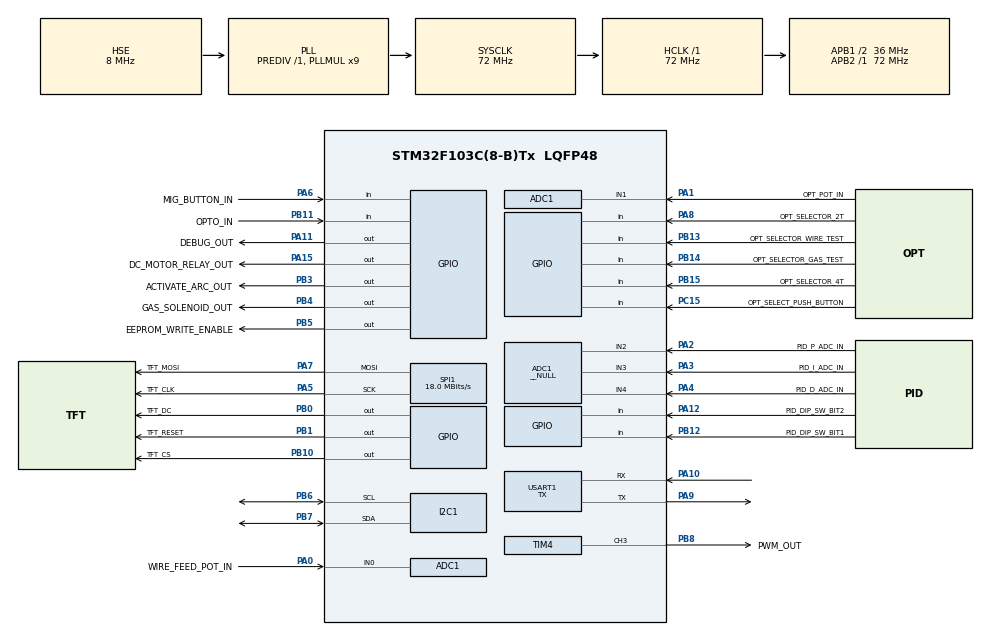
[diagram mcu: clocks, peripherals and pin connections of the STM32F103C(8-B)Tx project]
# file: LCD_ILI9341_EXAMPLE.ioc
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ADC1.Channel-10\#ChannelRegularConversion=ADC_CHANNEL_2
ADC1.Channel-11\#ChannelRegularConversion=ADC_CHANNEL_3
ADC1.Channel-12\#ChannelRegularConversion=ADC_CHANNEL_4
ADC1.Channel-8\#ChannelRegularConversion=ADC_CHANNEL_0
ADC1.Channel-9\#ChannelRegularConversion=ADC_CHANNEL_1
ADC1.ContinuousConvMode=ENABLE
ADC1.DiscontinuousConvMode=DISABLE
ADC1.EnableRegularConversion=ENABLE
ADC1.ExternalTrigConv=ADC_SOFTWARE_START
ADC1.Mode=__NULL
ADC1.NbrOfConversion=5
ADC1.NbrOfConversionFlag=1
ADC1.Rank-10\#ChannelRegularConversion=3
ADC1.Rank-11\#ChannelRegularConversion=4
ADC1.Rank-12\#ChannelRegularConversion=5
ADC1.Rank-8\#ChannelRegularConversion=1
ADC1.Rank-9\#ChannelRegularConversion=2
ADC1.SamplingTime-10\#ChannelRegularConversion=ADC_SAMPLETIME_7CYCLES_5
ADC1.SamplingTime-11\#ChannelRegularConversion=ADC_SAMPLETIME_7CYCLES_5
ADC1.SamplingTime-12\#ChannelRegularConversion=ADC_SAMPLETIME_7CYCLES_5
ADC1.SamplingTime-8\#ChannelRegularConversion=ADC_SAMPLETIME_7CYCLES_5
ADC1.SamplingTime-9\#ChannelRegularConversion=ADC_SAMPLETIME_7CYCLES_5
ADC1.master=1
Dma.Request0=SPI1_TX
Dma.SPI1_TX.0.Direction=DMA_MEMORY_TO_PERIPH
Dma.SPI1_TX.0.Instance=DMA1_Channel3
Dma.SPI1_TX.0.MemDataAlignment=DMA_MDATAALIGN_BYTE
Dma.SPI1_TX.0.MemInc=DMA_MINC_ENABLE
Dma.SPI1_TX.0.Mode=DMA_NORMAL
Dma.SPI1_TX.0.PeriphDataAlignment=DMA_PDATAALIGN_BYTE
Dma.SPI1_TX.0.PeriphInc=DMA_PINC_DISABLE
Dma.SPI1_TX.0.Priority=DMA_PRIORITY_LOW
I2C1.I2C_Mode=I2C_Standard
Mcu.Family=STM32F1
Mcu.Name=STM32F103C(8-B)Tx
Mcu.Package=LQFP48
Mcu.UserConstants=WIRE_SPEED_COUNTER_TIMER_US,20;WIRE_SPEED_COUNTER_TIMER_PRESCALER,1;PWM_AUTORELOAD_REG_ARR,((PWM_TIMER_US*FCLOCK_MHZ/(PWM_TIMER_PRESCALER+1))-1);WIRE_SPEED_COUNTER_TIMER_ARR,((WIRE_SPEED_COUNTER_TIMER_US*FCLOCK_MHZ/(WIRE_SPEED_COUNTER_TIMER_PRESCALER+1))-1);PWM_TIMER_US,1000;FCLOCK_MHZ,72;PWM_TIMER_PRESCALER,1;ADCS_CONV_TIMER_US,10000;ADCS_CONV_TIMER_PRESCALER,12;ADCS_CONV_TIMER_ARR,((ADCS_CONV_TIMER_US*FCLOCK_MHZ/(ADCS_CONV_TIMER_PRESCALER+1))-1)
NVIC.DMA1_Channel3_IRQn=true\:0\:0\:false\:false\:true\:false\:true\:true
NVIC.I2C1_EV_IRQn=true\:0\:0\:false\:false\:true\:true\:true\:true
NVIC.PriorityGroup=NVIC_PRIORITYGROUP_4
PA0-WKUP.GPIO_Label=WIRE_FEED_POT_IN
PA0-WKUP.Signal=ADCx_IN0
PA1.GPIO_Label=OPT_POT_IN
PA1.Signal=ADCx_IN1
PA10.Mode=Asynchronous
PA10.Signal=USART1_RX
PA11.GPIO_Label=DEBUG_OUT
PA11.Signal=GPIO_Output
PA12.GPIO_Label=PID_DIP_SW_BIT2
PA12.GPIO_PuPd=GPIO_PULLUP
PA12.Signal=GPIO_Input
PA15.GPIO_Label=DC_MOTOR_RELAY_OUT
PA15.GPIO_PuPd=GPIO_PULLDOWN
PA15.GPIO_Speed=GPIO_SPEED_FREQ_HIGH
PA15.Signal=GPIO_Output
PA2.GPIO_Label=PID_P_ADC_IN
PA2.Signal=ADCx_IN2
PA3.GPIO_Label=PID_I_ADC_IN
PA3.Signal=ADCx_IN3
PA4.GPIO_Label=PID_D_ADC_IN
PA4.Signal=ADCx_IN4
PA5.GPIO_Label=TFT_CLK
PA5.Mode=TX_Only_Simplex_Unidirect_Master
PA5.Signal=SPI1_SCK
PA6.GPIO_Label=MIG_BUTTON_IN
PA6.GPIO_PuPd=GPIO_PULLUP
PA6.Signal=GPIO_Input
PA7.GPIO_Label=TFT_MOSI
PA7.Mode=TX_Only_Simplex_Unidirect_Master
PA7.Signal=SPI1_MOSI
PA8.GPIO_Label=OPT_SELECTOR_2T
PA8.GPIO_PuPd=GPIO_PULLUP
PA8.Signal=GPIO_Input
PA9.Mode=Asynchronous
PA9.Signal=USART1_TX
PB0.GPIO_Label=TFT_DC
PB0.GPIO_Speed=GPIO_SPEED_FREQ_HIGH
PB0.Signal=GPIO_Output
PB1.GPIO_Label=TFT_RESET
PB1.GPIO_PuPd=GPIO_PULLDOWN
PB1.GPIO_Speed=GPIO_SPEED_FREQ_HIGH
PB1.Signal=GPIO_Output
PB10.GPIO_Label=TFT_CS
PB10.GPIO_PuPd=GPIO_PULLUP
PB10.GPIO_Speed=GPIO_SPEED_FREQ_HIGH
PB10.Signal=GPIO_Output
PB11.GPIO_Label=OPTO_IN
PB11.GPIO_PuPd=GPIO_PULLUP
PB11.Signal=GPIO_Input
PB12.GPIO_Label=PID_DIP_SW_BIT1
PB12.GPIO_PuPd=GPIO_PULLUP
PB12.Signal=GPIO_Input
PB13.GPIO_Label=OPT_SELECTOR_WIRE_TEST
PB13.GPIO_PuPd=GPIO_PULLUP
PB13.Signal=GPIO_Input
PB14.GPIO_Label=OPT_SELECTOR_GAS_TEST
PB14.GPIO_PuPd=GPIO_PULLUP
PB14.Signal=GPIO_Input
PB15.GPIO_Label=OPT_SELECTOR_4T
PB15.GPIO_PuPd=GPIO_PULLUP
PB15.Signal=GPIO_Input
PB3.GPIO_Label=ACTIVATE_ARC_OUT
PB3.GPIO_PuPd=GPIO_PULLDOWN
PB3.GPIO_Speed=GPIO_SPEED_FREQ_HIGH
PB3.PinState=GPIO_PIN_RESET
PB3.Signal=GPIO_Output
PB4.GPIO_Label=GAS_SOLENOID_OUT
PB4.GPIO_PuPd=GPIO_PULLDOWN
PB4.GPIO_Speed=GPIO_SPEED_FREQ_HIGH
PB4.Signal=GPIO_Output
PB5.GPIO_Label=EEPROM_WRITE_ENABLE
PB5.GPIO_PuPd=GPIO_PULLUP
PB5.GPIO_Speed=GPIO_SPEED_FREQ_HIGH
PB5.Signal=GPIO_Output
PB6.Mode=I2C
PB6.Signal=I2C1_SCL
PB7.Mode=I2C
PB7.Signal=I2C1_SDA
PB8.GPIO_Label=PWM_OUT
PB8.Signal=S_TIM4_CH3
PC15-OSC32_OUT.GPIO_Label=OPT_SELECT_PUSH_BUTTON
PC15-OSC32_OUT.GPIO_PuPd=GPIO_PULLUP
PC15-OSC32_OUT.Signal=GPIO_Input
PD0-OSC_IN.Mode=HSE-External-Oscillator
PD0-OSC_IN.Signal=RCC_OSC_IN
PD1-OSC_OUT.Mode=HSE-External-Oscillator
PD1-OSC_OUT.Signal=RCC_OSC_OUT
ProjectManager.HeapSize=0x200
ProjectManager.StackSize=0x400
ProjectManager.TargetToolchain=STM32CubeIDE
RCC.ADCPresc=RCC_ADCPCLK2_DIV6
RCC.AHBFreq_Value=72000000
RCC.APB1CLKDivider=RCC_HCLK_DIV2
RCC.APB1Freq_Value=36000000
RCC.APB1TimFreq_Value=72000000
RCC.APB2Freq_Value=72000000
RCC.APB2TimFreq_Value=72000000
RCC.HCLKFreq_Value=72000000
RCC.PLLMUL=RCC_PLL_MUL9
RCC.PLLSourceVirtual=RCC_PLLSOURCE_HSE
RCC.SYSCLKFreq_VALUE=72000000
RCC.SYSCLKSource=RCC_SYSCLKSOURCE_PLLCLK
RCC.USBFreq_Value=48000000
RCC.USBPrescaler=RCC_USBCLKSOURCE_PLL_DIV1_5
SH.ADCx_IN0.0=ADC1_IN0,IN0
SH.ADCx_IN1.0=ADC1_IN1,IN1
SH.ADCx_IN2.0=ADC1_IN2,IN2
SH.ADCx_IN3.0=ADC1_IN3,IN3
SH.ADCx_IN4.0=ADC1_IN4,IN4
SH.S_TIM4_CH3.0=TIM4_CH3,PWM Generation3 CH3
SPI1.BaudRatePrescaler=SPI_BAUDRATEPRESCALER_4
SPI1.CalculateBaudRate=18.0 MBits/s
SPI1.Direction=SPI_DIRECTION_2LINES
SPI1.Mode=SPI_MODE_MASTER
SPI1.VirtualType=VM_MASTER
TIM1.Period=WIRE_SPEED_COUNTER_TIMER_ARR
TIM1.Prescaler=WIRE_SPEED_COUNTER_TIMER_PRESCALER
TIM1.TIM_MasterOutputTrigger=TIM_TRGO_RESET
TIM4.Channel-PWM\ Generation3\ CH3=TIM_CHANNEL_3
TIM4.Period=PWM_AUTORELOAD_REG_ARR
TIM4.Prescaler=PWM_TIMER_PRESCALER
USART1.Mode=MODE_TX
USART1.VirtualMode=VM_ASYNC
VP_SYS_VS_ND.Mode=No_Debug
VP_TIM1_VS_ClockSourceINT.Mode=Internal
board=custom

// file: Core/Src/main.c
/* USER CODE BEGIN Header */
/**
  ******************************************************************************
  * @file           : main.c
  * @brief          : Main program body
  ******************************************************************************
  * @attention
  *
  * Copyright (c) 2024 STMicroelectronics.
  * All rights reserved.
  *
  * This software is licensed under terms that can be found in the LICENSE file
  * in the root directory of this software component.
  * If no LICENSE file comes with this software, it is provided AS-IS.
  *
  ******************************************************************************
  */
/* USER CODE END Header */
#include "main.h"

 ADC_HandleTypeDef hadc1;

I2C_HandleTypeDef hi2c1;

SPI_HandleTypeDef hspi1;
DMA_HandleTypeDef hdma_spi1_tx;

TIM_HandleTypeDef htim1;
TIM_HandleTypeDef htim4;

UART_HandleTypeDef huart1;

/* USER CODE BEGIN PV */
volatile uint8_t SPI_transfer_status = 0;
/* USER CODE END PV */

void SystemClock_Config(void);
static void MX_GPIO_Init(void);
static void MX_ADC1_Init(void);
static void MX_TIM4_Init(void);
static void MX_SPI1_Init(void);
static void MX_DMA_Init(void);
static void MX_I2C1_Init(void);
static void MX_TIM1_Init(void);
static void MX_USART1_UART_Init(void);
/* USER CODE BEGIN PFP */
void LCD_demo_OLD(void);
void new_LCD_demo(void);
/* USER CODE END PFP */

int main(void)
{

  /* MCU Configuration--------------------------------------------------------*/

  /* Reset of all peripherals, Initializes the Flash interface and the Systick. */
  HAL_Init();

  /* Configure the system clock */
  SystemClock_Config();

  /* USER CODE BEGIN SysInit */
  MX_DMA_Init();
  /* USER CODE END SysInit */

  /* Initialize all configured peripherals */
  MX_GPIO_Init();
  MX_ADC1_Init();
  MX_TIM4_Init();
  MX_SPI1_Init();
  MX_DMA_Init();
  MX_I2C1_Init();
  MX_TIM1_Init();
  MX_USART1_UART_Init();

  /* Infinite loop */
  /* USER CODE BEGIN WHILE */
  while (1)
  {
	//LCD_demo_OLD();
	  static int cycles = 0;
	  if(!cycles){
		  new_LCD_demo();
		  cycles++;
	  }
    /* USER CODE END WHILE */

  }
}

void SystemClock_Config(void)
{
  RCC_OscInitTypeDef RCC_OscInitStruct = {0};
  RCC_ClkInitTypeDef RCC_ClkInitStruct = {0};
  RCC_PeriphCLKInitTypeDef PeriphClkInit = {0};

  /** Initializes the RCC Oscillators according to the specified parameters
  * in the RCC_OscInitTypeDef structure.
  */
  RCC_OscInitStruct.OscillatorType = RCC_OSCILLATORTYPE_HSE;
  RCC_OscInitStruct.HSEState = RCC_HSE_ON;
  RCC_OscInitStruct.HSEPredivValue = RCC_HSE_PREDIV_DIV1;
  RCC_OscInitStruct.HSIState = RCC_HSI_ON;
  RCC_OscInitStruct.PLL.PLLState = RCC_PLL_ON;
  RCC_OscInitStruct.PLL.PLLSource = RCC_PLLSOURCE_HSE;
  RCC_OscInitStruct.PLL.PLLMUL = RCC_PLL_MUL9;
  if (HAL_RCC_OscConfig(&RCC_OscInitStruct) != HAL_OK)
  {
    Error_Handler();
  }

  /** Initializes the CPU, AHB and APB buses clocks
  */
  RCC_ClkInitStruct.ClockType = RCC_CLOCKTYPE_HCLK|RCC_CLOCKTYPE_SYSCLK
                              |RCC_CLOCKTYPE_PCLK1|RCC_CLOCKTYPE_PCLK2;
  RCC_ClkInitStruct.SYSCLKSource = RCC_SYSCLKSOURCE_PLLCLK;
  RCC_ClkInitStruct.AHBCLKDivider = RCC_SYSCLK_DIV1;
  RCC_ClkInitStruct.APB1CLKDivider = RCC_HCLK_DIV2;
  RCC_ClkInitStruct.APB2CLKDivider = RCC_HCLK_DIV1;

  if (HAL_RCC_ClockConfig(&RCC_ClkInitStruct, FLASH_LATENCY_2) != HAL_OK)
  {
    Error_Handler();
  }
  PeriphClkInit.PeriphClockSelection = RCC_PERIPHCLK_ADC;
  PeriphClkInit.AdcClockSelection = RCC_ADCPCLK2_DIV6;
  if (HAL_RCCEx_PeriphCLKConfig(&PeriphClkInit) != HAL_OK)
  {
    Error_Handler();
  }
}

static void MX_ADC1_Init(void)
{

  ADC_ChannelConfTypeDef sConfig = {0};

  /** Common config
  */
  hadc1.Instance = ADC1;
  hadc1.Init.ScanConvMode = ADC_SCAN_ENABLE;
  hadc1.Init.ContinuousConvMode = ENABLE;
  hadc1.Init.DiscontinuousConvMode = DISABLE;
  hadc1.Init.ExternalTrigConv = ADC_SOFTWARE_START;
  hadc1.Init.DataAlign = ADC_DATAALIGN_RIGHT;
  hadc1.Init.NbrOfConversion = 5;
  if (HAL_ADC_Init(&hadc1) != HAL_OK)
  {
    Error_Handler();
  }

  /** Configure Regular Channel
  */
  sConfig.Channel = ADC_CHANNEL_0;
  sConfig.Rank = ADC_REGULAR_RANK_1;
  sConfig.SamplingTime = ADC_SAMPLETIME_7CYCLES_5;
  if (HAL_ADC_ConfigChannel(&hadc1, &sConfig) != HAL_OK)
  {
    Error_Handler();
  }

  /** Configure Regular Channel
  */
  sConfig.Channel = ADC_CHANNEL_1;
  sConfig.Rank = ADC_REGULAR_RANK_2;
  if (HAL_ADC_ConfigChannel(&hadc1, &sConfig) != HAL_OK)
  {
    Error_Handler();
  }

  /** Configure Regular Channel
  */
  sConfig.Channel = ADC_CHANNEL_2;
  sConfig.Rank = ADC_REGULAR_RANK_3;
  if (HAL_ADC_ConfigChannel(&hadc1, &sConfig) != HAL_OK)
  {
    Error_Handler();
  }

  /** Configure Regular Channel
  */
  sConfig.Channel = ADC_CHANNEL_3;
  sConfig.Rank = ADC_REGULAR_RANK_4;
  if (HAL_ADC_ConfigChannel(&hadc1, &sConfig) != HAL_OK)
  {
    Error_Handler();
  }

  /** Configure Regular Channel
  */
  sConfig.Channel = ADC_CHANNEL_4;
  sConfig.Rank = ADC_REGULAR_RANK_5;
  if (HAL_ADC_ConfigChannel(&hadc1, &sConfig) != HAL_OK)
  {
    Error_Handler();
  }

}

static void MX_I2C1_Init(void)
{

  hi2c1.Instance = I2C1;
  hi2c1.Init.ClockSpeed = 100000;
  hi2c1.Init.DutyCycle = I2C_DUTYCYCLE_2;
  hi2c1.Init.OwnAddress1 = 0;
  hi2c1.Init.AddressingMode = I2C_ADDRESSINGMODE_7BIT;
  hi2c1.Init.DualAddressMode = I2C_DUALADDRESS_DISABLE;
  hi2c1.Init.OwnAddress2 = 0;
  hi2c1.Init.GeneralCallMode = I2C_GENERALCALL_DISABLE;
  hi2c1.Init.NoStretchMode = I2C_NOSTRETCH_DISABLE;
  if (HAL_I2C_Init(&hi2c1) != HAL_OK)
  {
    Error_Handler();
  }

}

static void MX_SPI1_Init(void)
{

  /* SPI1 parameter configuration*/
  hspi1.Instance = SPI1;
  hspi1.Init.Mode = SPI_MODE_MASTER;
  hspi1.Init.Direction = SPI_DIRECTION_2LINES;
  hspi1.Init.DataSize = SPI_DATASIZE_8BIT;
  hspi1.Init.CLKPolarity = SPI_POLARITY_LOW;
  hspi1.Init.CLKPhase = SPI_PHASE_1EDGE;
  hspi1.Init.NSS = SPI_NSS_SOFT;
  hspi1.Init.BaudRatePrescaler = SPI_BAUDRATEPRESCALER_4;
  hspi1.Init.FirstBit = SPI_FIRSTBIT_MSB;
  hspi1.Init.TIMode = SPI_TIMODE_DISABLE;
  hspi1.Init.CRCCalculation = SPI_CRCCALCULATION_DISABLE;
  hspi1.Init.CRCPolynomial = 10;
  if (HAL_SPI_Init(&hspi1) != HAL_OK)
  {
    Error_Handler();
  }

}

static void MX_TIM1_Init(void)
{

  TIM_ClockConfigTypeDef sClockSourceConfig = {0};
  TIM_MasterConfigTypeDef sMasterConfig = {0};

  htim1.Instance = TIM1;
  htim1.Init.Prescaler = WIRE_SPEED_COUNTER_TIMER_PRESCALER;
  htim1.Init.CounterMode = TIM_COUNTERMODE_UP;
  htim1.Init.Period = WIRE_SPEED_COUNTER_TIMER_ARR;
  htim1.Init.ClockDivision = TIM_CLOCKDIVISION_DIV1;
  htim1.Init.RepetitionCounter = 0;
  htim1.Init.AutoReloadPreload = TIM_AUTORELOAD_PRELOAD_DISABLE;
  if (HAL_TIM_Base_Init(&htim1) != HAL_OK)
  {
    Error_Handler();
  }
  sClockSourceConfig.ClockSource = TIM_CLOCKSOURCE_INTERNAL;
  if (HAL_TIM_ConfigClockSource(&htim1, &sClockSourceConfig) != HAL_OK)
  {
    Error_Handler();
  }
  sMasterConfig.MasterOutputTrigger = TIM_TRGO_RESET;
  sMasterConfig.MasterSlaveMode = TIM_MASTERSLAVEMODE_DISABLE;
  if (HAL_TIMEx_MasterConfigSynchronization(&htim1, &sMasterConfig) != HAL_OK)
  {
    Error_Handler();
  }

}

static void MX_TIM4_Init(void)
{

  TIM_MasterConfigTypeDef sMasterConfig = {0};
  TIM_OC_InitTypeDef sConfigOC = {0};

  htim4.Instance = TIM4;
  htim4.Init.Prescaler = PWM_TIMER_PRESCALER;
  htim4.Init.CounterMode = TIM_COUNTERMODE_UP;
  htim4.Init.Period = PWM_AUTORELOAD_REG_ARR;
  htim4.Init.ClockDivision = TIM_CLOCKDIVISION_DIV1;
  htim4.Init.AutoReloadPreload = TIM_AUTORELOAD_PRELOAD_DISABLE;
  if (HAL_TIM_PWM_Init(&htim4) != HAL_OK)
  {
    Error_Handler();
  }
  sMasterConfig.MasterOutputTrigger = TIM_TRGO_RESET;
  sMasterConfig.MasterSlaveMode = TIM_MASTERSLAVEMODE_DISABLE;
  if (HAL_TIMEx_MasterConfigSynchronization(&htim4, &sMasterConfig) != HAL_OK)
  {
    Error_Handler();
  }
  sConfigOC.OCMode = TIM_OCMODE_PWM1;
  sConfigOC.Pulse = 0;
  sConfigOC.OCPolarity = TIM_OCPOLARITY_HIGH;
  sConfigOC.OCFastMode = TIM_OCFAST_DISABLE;
  if (HAL_TIM_PWM_ConfigChannel(&htim4, &sConfigOC, TIM_CHANNEL_3) != HAL_OK)
  {
    Error_Handler();
  }
  HAL_TIM_MspPostInit(&htim4);

}

static void MX_USART1_UART_Init(void)
{

  huart1.Instance = USART1;
  huart1.Init.BaudRate = 115200;
  huart1.Init.WordLength = UART_WORDLENGTH_8B;
  huart1.Init.StopBits = UART_STOPBITS_1;
  huart1.Init.Parity = UART_PARITY_NONE;
  huart1.Init.Mode = UART_MODE_TX;
  huart1.Init.HwFlowCtl = UART_HWCONTROL_NONE;
  huart1.Init.OverSampling = UART_OVERSAMPLING_16;
  if (HAL_UART_Init(&huart1) != HAL_OK)
  {
    Error_Handler();
  }

}

static void MX_DMA_Init(void)
{

  /* DMA controller clock enable */
  __HAL_RCC_DMA1_CLK_ENABLE();

  /* DMA interrupt init */
  /* DMA1_Channel3_IRQn interrupt configuration */
  HAL_NVIC_SetPriority(DMA1_Channel3_IRQn, 0, 0);
  HAL_NVIC_EnableIRQ(DMA1_Channel3_IRQn);

}

static void MX_GPIO_Init(void)
{
  LL_GPIO_InitTypeDef GPIO_InitStruct = {0};

  /* GPIO Ports Clock Enable */
  LL_APB2_GRP1_EnableClock(LL_APB2_GRP1_PERIPH_GPIOC);
  LL_APB2_GRP1_EnableClock(LL_APB2_GRP1_PERIPH_GPIOD);
  LL_APB2_GRP1_EnableClock(LL_APB2_GRP1_PERIPH_GPIOA);
  LL_APB2_GRP1_EnableClock(LL_APB2_GRP1_PERIPH_GPIOB);

  /**/
  LL_GPIO_ResetOutputPin(GPIOB, TFT_DC_Pin|TFT_RESET_Pin|TFT_CS_Pin|ACTIVATE_ARC_OUT_Pin
                          |GAS_SOLENOID_OUT_Pin|EEPROM_WRITE_ENABLE_Pin);

  /**/
  LL_GPIO_ResetOutputPin(GPIOA, DEBUG_OUT_Pin|DC_MOTOR_RELAY_OUT_Pin);

  /**/
  GPIO_InitStruct.Pin = OPT_SELECT_PUSH_BUTTON_Pin;
  GPIO_InitStruct.Mode = LL_GPIO_MODE_INPUT;
  GPIO_InitStruct.Pull = LL_GPIO_PULL_UP;
  LL_GPIO_Init(OPT_SELECT_PUSH_BUTTON_GPIO_Port, &GPIO_InitStruct);

  /**/
  GPIO_InitStruct.Pin = MIG_BUTTON_IN_Pin|OPT_SELECTOR_2T_Pin|PID_DIP_SW_BIT2_Pin;
  GPIO_InitStruct.Mode = LL_GPIO_MODE_INPUT;
  GPIO_InitStruct.Pull = LL_GPIO_PULL_UP;
  LL_GPIO_Init(GPIOA, &GPIO_InitStruct);

  /**/
  GPIO_InitStruct.Pin = TFT_DC_Pin;
  GPIO_InitStruct.Mode = LL_GPIO_MODE_OUTPUT;
  GPIO_InitStruct.Speed = LL_GPIO_SPEED_FREQ_HIGH;
  GPIO_InitStruct.OutputType = LL_GPIO_OUTPUT_PUSHPULL;
  LL_GPIO_Init(TFT_DC_GPIO_Port, &GPIO_InitStruct);

  /**/
  GPIO_InitStruct.Pin = TFT_RESET_Pin|ACTIVATE_ARC_OUT_Pin|GAS_SOLENOID_OUT_Pin;
  GPIO_InitStruct.Mode = LL_GPIO_MODE_OUTPUT;
  GPIO_InitStruct.Speed = LL_GPIO_SPEED_FREQ_HIGH;
  GPIO_InitStruct.OutputType = LL_GPIO_OUTPUT_PUSHPULL;
  GPIO_InitStruct.Pull = LL_GPIO_PULL_DOWN;
  LL_GPIO_Init(GPIOB, &GPIO_InitStruct);

  /**/
  GPIO_InitStruct.Pin = TFT_CS_Pin|EEPROM_WRITE_ENABLE_Pin;
  GPIO_InitStruct.Mode = LL_GPIO_MODE_OUTPUT;
  GPIO_InitStruct.Speed = LL_GPIO_SPEED_FREQ_HIGH;
  GPIO_InitStruct.OutputType = LL_GPIO_OUTPUT_PUSHPULL;
  GPIO_InitStruct.Pull = LL_GPIO_PULL_UP;
  LL_GPIO_Init(GPIOB, &GPIO_InitStruct);

  /**/
  GPIO_InitStruct.Pin = OPTO_IN_Pin|PID_DIP_SW_BIT1_Pin|OPT_SELECTOR_WIRE_TEST_Pin|OPT_SELECTOR_GAS_TEST_Pin
                          |OPT_SELECTOR_4T_Pin;
  GPIO_InitStruct.Mode = LL_GPIO_MODE_INPUT;
  GPIO_InitStruct.Pull = LL_GPIO_PULL_UP;
  LL_GPIO_Init(GPIOB, &GPIO_InitStruct);

  /**/
  GPIO_InitStruct.Pin = DEBUG_OUT_Pin;
  GPIO_InitStruct.Mode = LL_GPIO_MODE_OUTPUT;
  GPIO_InitStruct.Speed = LL_GPIO_SPEED_FREQ_LOW;
  GPIO_InitStruct.OutputType = LL_GPIO_OUTPUT_PUSHPULL;
  LL_GPIO_Init(DEBUG_OUT_GPIO_Port, &GPIO_InitStruct);

  /**/
  GPIO_InitStruct.Pin = DC_MOTOR_RELAY_OUT_Pin;
  GPIO_InitStruct.Mode = LL_GPIO_MODE_OUTPUT;
  GPIO_InitStruct.Speed = LL_GPIO_SPEED_FREQ_HIGH;
  GPIO_InitStruct.OutputType = LL_GPIO_OUTPUT_PUSHPULL;
  GPIO_InitStruct.Pull = LL_GPIO_PULL_DOWN;
  LL_GPIO_Init(DC_MOTOR_RELAY_OUT_GPIO_Port, &GPIO_InitStruct);

}

/* USER CODE BEGIN 4 */

void new_LCD_demo(void){
	   //debug_blink(3);
	   ILI9341_Init();

	   // Simple Text writing (Text, Font, X, Y, Color, BackColor)
	   // Available Fonts are FONT1, FONT2, FONT3 and FONT4
	   ILI9341_FillScreen(BLACK);
	   ILI9341_SetRotation(SCREEN_VERTICAL_1);
	   ILI9341_DrawText("MIDI BUSSBARS ORGAN", FONT4, 10, 20, BLACK, GREEN);
	   ILI9341_DrawText("TFT DEBUG", FONT4, 10, 60, BLACK, GREEN);

	   // LCD TEST SCREENS

	   ILI9341_DrawText("HELLO WORLD", FONT4, 90, 110, BLACK, WHITE);
	   HAL_Delay(1000);

	   //debug_blink(5);

	   //Writing numbers
	   ILI9341_FillScreen(WHITE);
	   static char BufferText[30];
	   for(uint8_t i = 0; i <= 5; i++)
	   {
	     sprintf(BufferText, "COUNT : %d", i);
	     ILI9341_DrawText(BufferText, FONT3, 10, 10, BLACK, WHITE);
	     ILI9341_DrawText(BufferText, FONT3, 10, 30, BLUE, WHITE);
	     ILI9341_DrawText(BufferText, FONT3, 10, 50, RED, WHITE);
	     ILI9341_DrawText(BufferText, FONT3, 10, 70, GREEN, WHITE);
	     ILI9341_DrawText(BufferText, FONT3, 10, 90, YELLOW, WHITE);
	     ILI9341_DrawText(BufferText, FONT3, 10, 110, PURPLE, WHITE);
	     ILI9341_DrawText(BufferText, FONT3, 10, 130, ORANGE, WHITE);
	     ILI9341_DrawText(BufferText, FONT3, 10, 150, MAROON, WHITE);
	     ILI9341_DrawText(BufferText, FONT3, 10, 170, WHITE, BLACK);
	     ILI9341_DrawText(BufferText, FONT3, 10, 190, BLUE, BLACK);
	   }

	   // Horizontal Line (X, Y, Length, Color)
	   ILI9341_FillScreen(WHITE);
	   ILI9341_DrawHLine(50, 120, 200, NAVY);
	   HAL_Delay(1000);

	   // Vertical Line (X, Y, Length, Color)
	   ILI9341_FillScreen(WHITE);
	   ILI9341_DrawVLine(160, 40, 150, DARKGREEN);
	   HAL_Delay(1000);

	   // Hollow Circle (Centre X, Centre Y, Radius, Color)
	   ILI9341_FillScreen(WHITE);
	   ILI9341_DrawHollowCircle(160, 120, 80, PINK);
	   HAL_Delay(1000);

	   // Filled Circle (Centre X, Centre Y, Radius, Color)
	   ILI9341_FillScreen(WHITE);
	   ILI9341_DrawFilledCircle(160, 120, 50, CYAN);
	   HAL_Delay(1000);

	   // Filled Rectangle (Start X, Start Y, Length X, Length Y)
	   ILI9341_FillScreen(WHITE);
	   ILI9341_DrawRectangle(50, 50, 220, 140, GREENYELLOW);
	   HAL_Delay(1000);

	   // Hollow Rectangle (Start X, Start Y, End X, End Y)
	   ILI9341_FillScreen(WHITE);
	   ILI9341_DrawHollowRectangleCoord(50, 50, 270, 190, DARKCYAN);
	   HAL_Delay(1000);

	   // Simple Pixel Only (X, Y, Color)
	   ILI9341_FillScreen(WHITE);
	   ILI9341_DrawPixel(100, 100, BLACK);
	   HAL_Delay(1000);
}
//void LCD_demo_OLD(void){
//	//----------------------------------------------------------COUNTING MULTIPLE SEGMENTS
//	ILI9341_Fill_Screen(WHITE);
//	ILI9341_Set_Rotation(SCREEN_HORIZONTAL_2);
//	ILI9341_Draw_Text("Counting multiple segments at once", 10, 10, BLACK, 1, WHITE);
//	HAL_Delay(2000);
//	ILI9341_Fill_Screen(WHITE);
//
//	char Temp_Buffer_text[14];
//	for(uint16_t i = 0; i <= 10; i++)
//	{
//	sprintf(Temp_Buffer_text, "Counting: %d", i);
//	ILI9341_Draw_Text(Temp_Buffer_text, 10, 10, BLACK, 2, WHITE);
//	ILI9341_Draw_Text(Temp_Buffer_text, 10, 30, BLUE, 2, WHITE);
//	ILI9341_Draw_Text(Temp_Buffer_text, 10, 50, RED, 2, WHITE);
//	ILI9341_Draw_Text(Temp_Buffer_text, 10, 70, GREEN, 2, WHITE);
//	ILI9341_Draw_Text(Temp_Buffer_text, 10, 90, BLACK, 2, WHITE);
//	ILI9341_Draw_Text(Temp_Buffer_text, 10, 110, BLUE, 2, WHITE);
//	ILI9341_Draw_Text(Temp_Buffer_text, 10, 130, RED, 2, WHITE);
//	ILI9341_Draw_Text(Temp_Buffer_text, 10, 150, GREEN, 2, WHITE);
//	ILI9341_Draw_Text(Temp_Buffer_text, 10, 170, WHITE, 2, BLACK);
//	ILI9341_Draw_Text(Temp_Buffer_text, 10, 190, BLUE, 2, BLACK);
//	ILI9341_Draw_Text(Temp_Buffer_text, 10, 210, RED, 2, BLACK);
//	}
//
//	HAL_Delay(1000);
//
////----------------------------------------------------------COUNTING SINGLE SEGMENT
//	ILI9341_Fill_Screen(WHITE);
//	ILI9341_Set_Rotation(SCREEN_HORIZONTAL_2);
//	ILI9341_Draw_Text("Counting single segment", 10, 10, BLACK, 1, WHITE);
//	HAL_Delay(2000);
//	ILI9341_Fill_Screen(WHITE);
//
//	for(uint16_t i = 0; i <= 100; i++)
//	{
//	sprintf(Temp_Buffer_text, "Counting: %d", i);
//	ILI9341_Draw_Text(Temp_Buffer_text, 10, 10, BLACK, 3, WHITE);
//	}
//
//	HAL_Delay(1000);
//
////----------------------------------------------------------ALIGNMENT TEST
//	ILI9341_Fill_Screen(WHITE);
//	ILI9341_Set_Rotation(SCREEN_HORIZONTAL_2);
//	ILI9341_Draw_Text("Rectangle alignment check", 10, 10, BLACK, 1, WHITE);
//	HAL_Delay(2000);
//	ILI9341_Fill_Screen(WHITE);
//
//	ILI9341_Draw_Hollow_Rectangle_Coord(50, 50, 100, 100, BLACK);
//	ILI9341_Draw_Filled_Rectangle_Coord(20, 20, 50, 50, BLACK);
//	ILI9341_Draw_Hollow_Rectangle_Coord(10, 10, 19, 19, BLACK);
//	HAL_Delay(1000);
//
//
//
//
//
////----------------------------------------------------------INDIVIDUAL PIXEL EXAMPLE
//
//	ILI9341_Fill_Screen(WHITE);
//	ILI9341_Set_Rotation(SCREEN_HORIZONTAL_2);
//	ILI9341_Draw_Text("Slow draw by selecting", 10, 10, BLACK, 1, WHITE);
//	ILI9341_Draw_Text("and adressing pixels", 10, 20, BLACK, 1, WHITE);
//	HAL_Delay(2000);
//	ILI9341_Fill_Screen(WHITE);
//
//
//	int x = 0;
//	int y = 0;
//	while (y < 240)
//	{
//	while ((x < 320) && (y < 240))
//	{
//
//		if(x % 2)
//		{
//			ILI9341_Draw_Pixel(x, y, BLACK);
//		}
//
//		x++;
//	}
//
//		y++;
//		x = 0;
//	}
//
//	x = 0;
//	y = 0;
//
//
//	while (y < 240)
//	{
//	while ((x < 320) && (y < 240))
//	{
//
//		if(y % 2)
//		{
//			ILI9341_Draw_Pixel(x, y, BLACK);
//		}
//
//		x++;
//	}
//
//		y++;
//		x = 0;
//	}
//	HAL_Delay(2000);
//
//
////----------------------------------------------------------565 COLOUR EXAMPLE, Grayscale
//	ILI9341_Fill_Screen(WHITE);
//	ILI9341_Set_Rotation(SCREEN_HORIZONTAL_2);
//	ILI9341_Draw_Text("Colour gradient", 10, 10, BLACK, 1, WHITE);
//	ILI9341_Draw_Text("Grayscale", 10, 20, BLACK, 1, WHITE);
//	HAL_Delay(2000);
//
//
//	for(uint16_t i = 0; i <= (320); i++)
//	{
//		uint16_t Red = 0;
//		uint16_t Green = 0;
//		uint16_t Blue = 0;
//
//		Red = i/(10);
//		Red <<= 11;
//		Green = i/(5);
//		Green <<= 5;
//		Blue = i/(10);
//
//
//
//		uint16_t RGB_color = Red + Green + Blue;
//		ILI9341_Draw_Rectangle(i, x, 1, 240, RGB_color);
//
//	}
//	HAL_Delay(2000);
//}

void pulse_debug_out(int n_pulses){
	for(int i=0; i<n_pulses; i++){
		LL_GPIO_SetOutputPin(DEBUG_OUT_GPIO_Port, DEBUG_OUT_Pin);
		LL_GPIO_ResetOutputPin(DEBUG_OUT_GPIO_Port, DEBUG_OUT_Pin);
	}
}
/* USER CODE END 4 */

void Error_Handler(void)
{
  __disable_irq();
  while (1)
  {
  }
}
